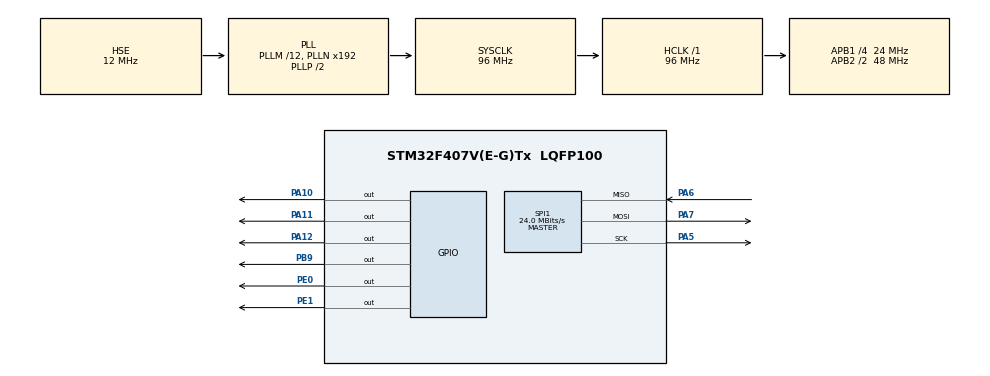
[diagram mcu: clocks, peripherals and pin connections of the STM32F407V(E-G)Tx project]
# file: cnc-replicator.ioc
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FREERTOS.Tasks01=defaultTask,24,128,StartDefaultTask,Default,NULL,Dynamic,NULL,NULL
FREERTOS.configENABLE_BACKWARD_COMPATIBILITY=0
FREERTOS.configTOTAL_HEAP_SIZE=64000
Mcu.Family=STM32F4
Mcu.Name=STM32F407V(E-G)Tx
Mcu.Package=LQFP100
NVIC.PriorityGroup=NVIC_PRIORITYGROUP_4
PA10.Signal=GPIO_Output
PA11.Signal=GPIO_Output
PA12.PinState=GPIO_PIN_RESET
PA12.Signal=GPIO_Output
PA13.Mode=Serial_Wire
PA13.Signal=SYS_JTMS-SWDIO
PA14.Mode=Serial_Wire
PA14.Signal=SYS_JTCK-SWCLK
PA5.Mode=Full_Duplex_Master
PA5.Signal=SPI1_SCK
PA6.Mode=Full_Duplex_Master
PA6.Signal=SPI1_MISO
PA7.Mode=Full_Duplex_Master
PA7.Signal=SPI1_MOSI
PB9.PinState=GPIO_PIN_SET
PB9.Signal=GPIO_Output
PE0.PinState=GPIO_PIN_SET
PE0.Signal=GPIO_Output
PE1.PinState=GPIO_PIN_SET
PE1.Signal=GPIO_Output
PH0-OSC_IN.Mode=HSE-External-Oscillator
PH0-OSC_IN.Signal=RCC_OSC_IN
PH1-OSC_OUT.Mode=HSE-External-Oscillator
PH1-OSC_OUT.Signal=RCC_OSC_OUT
ProjectManager.HeapSize=0x200
ProjectManager.StackSize=0x400
ProjectManager.TargetToolchain=STM32CubeIDE
RCC.48MHZClocksFreq_Value=48000000
RCC.AHBFreq_Value=96000000
RCC.APB1CLKDivider=RCC_HCLK_DIV4
RCC.APB1Freq_Value=24000000
RCC.APB1TimFreq_Value=48000000
RCC.APB2CLKDivider=RCC_HCLK_DIV2
RCC.APB2Freq_Value=48000000
RCC.APB2TimFreq_Value=96000000
RCC.CortexFreq_Value=96000000
RCC.HCLKFreq_Value=96000000
RCC.HSE_VALUE=12000000
RCC.HSI_VALUE=16000000
RCC.LSE_VALUE=32768
RCC.PLLM=12
RCC.PLLSourceVirtual=RCC_PLLSOURCE_HSE
RCC.SYSCLKFreq_VALUE=96000000
RCC.SYSCLKSource=RCC_SYSCLKSOURCE_PLLCLK
RCC.VCOOutputFreq_Value=192000000
SPI1.CalculateBaudRate=24.0 MBits/s
SPI1.Direction=SPI_DIRECTION_2LINES
SPI1.Mode=SPI_MODE_MASTER
SPI1.VirtualType=VM_MASTER
VP_FREERTOS_VS_CMSIS_V2.Mode=CMSIS_V2
board=custom

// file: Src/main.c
/* USER CODE BEGIN Header */
/**
  ******************************************************************************
  * @file           : main.c
  * @brief          : Main program body
  ******************************************************************************
  * @attention
  *
  * <h2><center>&copy; Copyright (c) 2019 STMicroelectronics.
  * All rights reserved.</center></h2>
  *
  * This software component is licensed by ST under BSD 3-Clause license,
  * the "License"; You may not use this file except in compliance with the
  * License. You may obtain a copy of the License at:
  *                        opensource.org/licenses/BSD-3-Clause
  *
  ******************************************************************************
  */
/* USER CODE END Header */

#include "main.h"
#include "cmsis_os.h"

/* USER CODE BEGIN Includes */

#include "step_motor.h"

/* USER CODE END Includes */

SPI_HandleTypeDef hspi1;

osThreadId_t defaultTaskHandle;

void SystemClock_Config(void);
static void MX_GPIO_Init(void);
static void MX_SPI1_Init(void);
void StartDefaultTask(void *argument);

int main(void)
{

  /* MCU Configuration--------------------------------------------------------*/

  /* Reset of all peripherals, Initializes the Flash interface and the Systick. */
  HAL_Init();

  /* USER CODE BEGIN Init */

  DWT_Init();

  /* USER CODE END Init */

  /* Configure the system clock */
  SystemClock_Config();

  /* Initialize all configured peripherals */
  MX_GPIO_Init();
  MX_SPI1_Init();

  osKernelInitialize();

  /* Create the thread(s) */
  /* definition and creation of defaultTask */
  const osThreadAttr_t defaultTask_attributes = {
    .name = "defaultTask",
    .priority = (osPriority_t) osPriorityNormal,
    .stack_size = 512
  };
  defaultTaskHandle = osThreadNew(StartDefaultTask, NULL, &defaultTask_attributes);

  /* Start scheduler */
  osKernelStart();

  /* We should never get here as control is now taken by the scheduler */

  /* Infinite loop */
  while (1)
  {

  }
}

void SystemClock_Config(void)
{
  RCC_OscInitTypeDef RCC_OscInitStruct = {0};
  RCC_ClkInitTypeDef RCC_ClkInitStruct = {0};

  /** Configure the main internal regulator output voltage
  */
  __HAL_RCC_PWR_CLK_ENABLE();
  __HAL_PWR_VOLTAGESCALING_CONFIG(PWR_REGULATOR_VOLTAGE_SCALE1);
  /** Initializes the CPU, AHB and APB busses clocks
  */
  RCC_OscInitStruct.OscillatorType = RCC_OSCILLATORTYPE_HSE;
  RCC_OscInitStruct.HSEState = RCC_HSE_ON;
  RCC_OscInitStruct.PLL.PLLState = RCC_PLL_ON;
  RCC_OscInitStruct.PLL.PLLSource = RCC_PLLSOURCE_HSE;
  RCC_OscInitStruct.PLL.PLLM = 12;
  RCC_OscInitStruct.PLL.PLLN = 192;
  RCC_OscInitStruct.PLL.PLLP = RCC_PLLP_DIV2;
  RCC_OscInitStruct.PLL.PLLQ = 4;
  if (HAL_RCC_OscConfig(&RCC_OscInitStruct) != HAL_OK)
  {
    Error_Handler();
  }
  /** Initializes the CPU, AHB and APB busses clocks
  */
  RCC_ClkInitStruct.ClockType = RCC_CLOCKTYPE_HCLK|RCC_CLOCKTYPE_SYSCLK
                              |RCC_CLOCKTYPE_PCLK1|RCC_CLOCKTYPE_PCLK2;
  RCC_ClkInitStruct.SYSCLKSource = RCC_SYSCLKSOURCE_PLLCLK;
  RCC_ClkInitStruct.AHBCLKDivider = RCC_SYSCLK_DIV1;
  RCC_ClkInitStruct.APB1CLKDivider = RCC_HCLK_DIV4;
  RCC_ClkInitStruct.APB2CLKDivider = RCC_HCLK_DIV2;

  if (HAL_RCC_ClockConfig(&RCC_ClkInitStruct, FLASH_LATENCY_3) != HAL_OK)
  {
    Error_Handler();
  }
}

static void MX_SPI1_Init(void)
{

  /* SPI1 parameter configuration*/
  hspi1.Instance = SPI1;
  hspi1.Init.Mode = SPI_MODE_MASTER;
  hspi1.Init.Direction = SPI_DIRECTION_2LINES;
  hspi1.Init.DataSize = SPI_DATASIZE_8BIT;
  hspi1.Init.CLKPolarity = SPI_POLARITY_LOW;
  hspi1.Init.CLKPhase = SPI_PHASE_1EDGE;
  hspi1.Init.NSS = SPI_NSS_SOFT;
  hspi1.Init.BaudRatePrescaler = SPI_BAUDRATEPRESCALER_2;
  hspi1.Init.FirstBit = SPI_FIRSTBIT_MSB;
  hspi1.Init.TIMode = SPI_TIMODE_DISABLE;
  hspi1.Init.CRCCalculation = SPI_CRCCALCULATION_DISABLE;
  hspi1.Init.CRCPolynomial = 10;
  if (HAL_SPI_Init(&hspi1) != HAL_OK)
  {
    Error_Handler();
  }

}

static void MX_GPIO_Init(void)
{
  GPIO_InitTypeDef GPIO_InitStruct = {0};

  /* GPIO Ports Clock Enable */
  __HAL_RCC_GPIOH_CLK_ENABLE();
  __HAL_RCC_GPIOA_CLK_ENABLE();
  __HAL_RCC_GPIOB_CLK_ENABLE();
  __HAL_RCC_GPIOE_CLK_ENABLE();

  /*Configure GPIO pin Output Level */
  HAL_GPIO_WritePin(GPIOA, GPIO_PIN_10|GPIO_PIN_11|GPIO_PIN_12, GPIO_PIN_RESET);

  /*Configure GPIO pin Output Level */
  HAL_GPIO_WritePin(GPIOB, GPIO_PIN_9, GPIO_PIN_SET);

  /*Configure GPIO pin Output Level */
  HAL_GPIO_WritePin(GPIOE, GPIO_PIN_0|GPIO_PIN_1, GPIO_PIN_SET);

  /*Configure GPIO pins : PA10 PA11 PA12 */
  GPIO_InitStruct.Pin = GPIO_PIN_10|GPIO_PIN_11|GPIO_PIN_12;
  GPIO_InitStruct.Mode = GPIO_MODE_OUTPUT_PP;
  GPIO_InitStruct.Pull = GPIO_NOPULL;
  GPIO_InitStruct.Speed = GPIO_SPEED_FREQ_LOW;
  HAL_GPIO_Init(GPIOA, &GPIO_InitStruct);

  /*Configure GPIO pin : PB9 */
  GPIO_InitStruct.Pin = GPIO_PIN_9;
  GPIO_InitStruct.Mode = GPIO_MODE_OUTPUT_PP;
  GPIO_InitStruct.Pull = GPIO_NOPULL;
  GPIO_InitStruct.Speed = GPIO_SPEED_FREQ_LOW;
  HAL_GPIO_Init(GPIOB, &GPIO_InitStruct);

  /*Configure GPIO pins : PE0 PE1 */
  GPIO_InitStruct.Pin = GPIO_PIN_0|GPIO_PIN_1;
  GPIO_InitStruct.Mode = GPIO_MODE_OUTPUT_PP;
  GPIO_InitStruct.Pull = GPIO_NOPULL;
  GPIO_InitStruct.Speed = GPIO_SPEED_FREQ_LOW;
  HAL_GPIO_Init(GPIOE, &GPIO_InitStruct);

}

void StartDefaultTask(void *argument)
{

  /* USER CODE BEGIN 5 */

	StepMotor_InitTypeDef stepMotorXInit = {
			.PortPower = GPIOA,
			.PinPower = GPIO_PIN_12,
			.PortDirection = GPIOA,
			.PinDirection = GPIO_PIN_11,
			.PortStep = GPIOA,
			.PinStep = GPIO_PIN_10,
			.RisingDelay = 500,
			.FallingDelay = 500,
			.DirectionForfardFront = GPIO_PIN_SET,
			.PowerOffFront = GPIO_PIN_SET
	};

	StepMotor_HandleTypeDef stepMotorX;

	FAL_StepMotor_Init(&stepMotorX, stepMotorXInit);
	osDelay(100);
	FAL_StepMotor_TurnPower(&stepMotorX, STEP_MOTOR_POWER_ON);
	osDelay(100);
	FAL_StepMotor_SerDirection(&stepMotorX, STEP_MOTOR_DIRECTION_BACKWARD);
	osDelay(100);
	FAL_StepMotor_Run(&stepMotorX, 10000, NULL);

  /* Infinite loop */
  for(;;)
  {
	  //HAL_GPIO_TogglePin(GPIOA, GPIO_PIN_12);
	  osDelay(2000);
  }
  /* USER CODE END 5 */
}

void Error_Handler(void)
{
}

/************************ (C) COPYRIGHT STMicroelectronics *****END OF FILE****/
